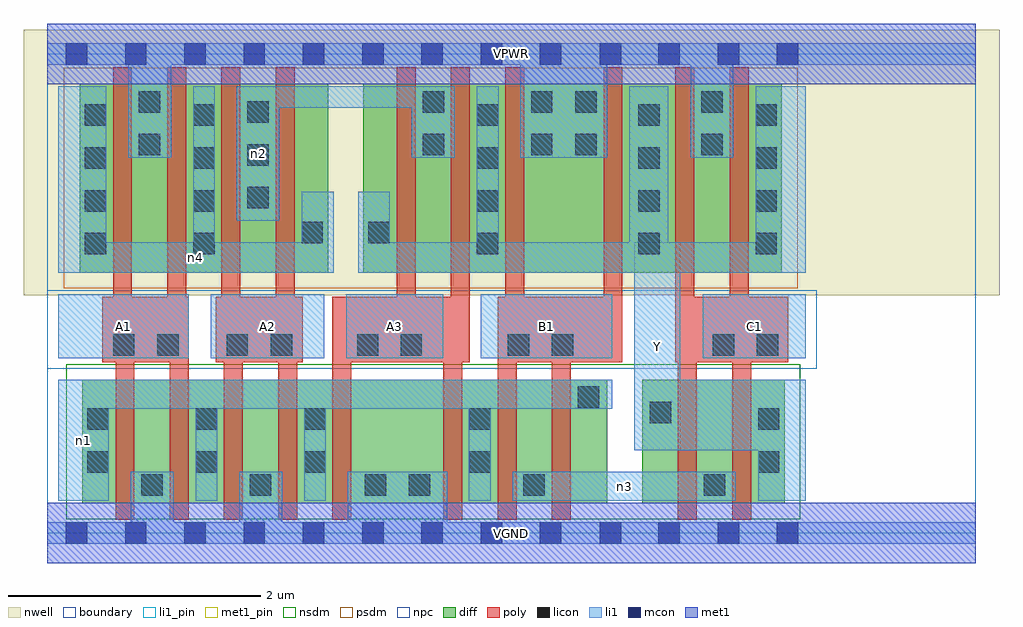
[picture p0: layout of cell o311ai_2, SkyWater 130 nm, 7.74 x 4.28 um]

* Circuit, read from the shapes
.subckt o311ai_2 A1 A2 A3 B1 C1 VGND VPWR Y n1 n2 n3 n4
XM1 VGND A1 n1 VSUBS sky130_fd_pr__nfet_01v8 w=0.98 l=0.15 m=2
XM2 VGND A2 n1 VSUBS sky130_fd_pr__nfet_01v8 w=0.98 l=0.15 m=2
XM3 VGND A3 n1 VSUBS sky130_fd_pr__nfet_01v8 w=0.98 l=0.15 m=2
XM4 n3 B1 n1 VSUBS sky130_fd_pr__nfet_01v8 w=0.98 l=0.15 m=2
XM5 n3 C1 Y VSUBS sky130_fd_pr__nfet_01v8 w=0.98 l=0.15 m=2
XM6 VPWR A1 n4 n5 sky130_fd_pr__pfet_01v8 w=1.5 l=0.15 m=2
XM7 n2 A2 n4 n5 sky130_fd_pr__pfet_01v8 w=1.5 l=0.15 m=2
XM8 n2 A3 Y n5 sky130_fd_pr__pfet_01v8 w=1.5 l=0.15 m=2
XM9 VPWR B1 Y n5 sky130_fd_pr__pfet_01v8 w=1.5 l=0.15 m=2
XM10 VPWR C1 Y n5 sky130_fd_pr__pfet_01v8 w=1.5 l=0.15 m=2
.ends

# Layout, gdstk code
import gdstk
lib = gdstk.Library(unit=1e-6, precision=1e-09)
def R(c, l, rs):  # rectangles x0, y0, x1, y1
    for r in rs: c.add(gdstk.rectangle(r[:2], r[2:], *l))
def A(c, l, x, y, w, h, nx, ny, dx, dy):  # array of equal rectangles
    R(c, l, [(x+i*dx, y+j*dy, x+i*dx+w, y+j*dy+h) for i in range(nx) for j in range(ny)])
nwell = (64, 20)
diff = (65, 20)
poly = (66, 20)
licon = (66, 44)
li1_pin = (67, 16)
li1 = (67, 20)
mcon = (67, 44)
met1_pin = (68, 16)
met1 = (68, 20)
nsdm = (93, 44)
psdm = (94, 20)
npc = (95, 20)
boundary = (235, 4)

o311ai_2 = lib.new_cell('o311ai_2')
R(o311ai_2, nwell, [(-0.19,1.885,7.55,3.99), (0,1.885,7.36,3.99)])
R(o311ai_2, diff, [(0.275,0.235,4.44,1.215), (4.715,0.235,5.845,1.215), (0.255,2.065,2.225,3.565), (2.505,2.065,5.825,3.565)])
A(o311ai_2, poly, 0.54, 0.105, 0.15, 1.77, 5, 1, 0.43, 0)
A(o311ai_2, poly, 3.14, 0.105, 0.15, 1.77, 3, 1, 0.43, 0)
A(o311ai_2, poly, 0.52, 1.355, 0.15, 2.34, 4, 1, 0.43, 0)
A(o311ai_2, poly, 2.77, 1.355, 0.15, 2.34, 3, 1, 0.43, 0)
R(o311ai_2, poly, [(3.2,0.105,3.29,3.695), (5,0.105,5.15,1.875), (5.43,0.105,5.58,1.875), (0.435,1.355,1.12,1.875), (1.335,1.355,2.025,1.875), (2.26,1.355,3.35,1.875), (3.57,1.355,4.56,1.875), (4.41,1.355,4.56,3.695), (4.98,1.355,5.13,3.695), (4.98,1.355,5.875,1.875), (5.41,1.355,5.56,3.695)])
A(o311ai_2, licon, 0.315, 0.48, 0.17, 0.17, 3, 2, 0.86, 0.34)
A(o311ai_2, licon, 0.295, 2.21, 0.17, 0.17, 1, 4, 0, 0.34)
A(o311ai_2, licon, 1.155, 2.21, 0.17, 0.17, 1, 4, 0, 0.34)
A(o311ai_2, licon, 3.405, 2.21, 0.17, 0.17, 1, 4, 0, 0.34)
A(o311ai_2, licon, 4.685, 2.21, 0.17, 0.17, 1, 4, 0, 0.34)
A(o311ai_2, licon, 5.615, 2.21, 0.17, 0.17, 1, 4, 0, 0.34)
A(o311ai_2, licon, 1.585, 2.575, 0.17, 0.17, 1, 3, 0, 0.34)
R(o311ai_2, licon, [(0.745,0.295,0.915,0.465), (1.605,0.295,1.775,0.465), (2.515,0.295,2.685,0.465), (2.865,0.295,3.035,0.465), (3.775,0.295,3.945,0.465), (5.205,0.295,5.375,0.465), (3.345,0.48,3.515,0.65), (5.635,0.48,5.805,0.65), (3.345,0.82,3.515,0.99), (5.635,0.82,5.805,0.99), (4.775,0.87,4.945,1.04), (4.205,0.995,4.375,1.165), (0.52,1.405,0.69,1.575), (0.87,1.405,1.04,1.575), (1.42,1.405,1.59,1.575), (1.77,1.405,1.94,1.575), (2.455,1.405,2.625,1.575), (2.8,1.405,2.97,1.575), (3.65,1.405,3.82,1.575), (4,1.405,4.17,1.575), (5.275,1.405,5.445,1.575), (5.625,1.405,5.795,1.575), (2.015,2.3,2.185,2.47), (2.545,2.3,2.715,2.47), (0.725,2.995,0.895,3.165), (2.975,2.995,3.145,3.165), (3.835,2.995,4.005,3.165), (4.185,2.995,4.355,3.165), (5.185,2.995,5.355,3.165), (0.725,3.335,0.895,3.505), (2.975,3.335,3.145,3.505), (3.835,3.335,4.005,3.505), (4.185,3.335,4.355,3.505), (5.185,3.335,5.355,3.505)])
R(o311ai_2, li1_pin, [(4.655,0.655,5.02,2.305), (0.085,1.385,1.12,1.895), (1.295,1.385,2.195,1.895), (2.37,1.385,3.14,1.895), (3.435,1.385,4.48,1.895), (5.195,1.385,6.015,1.895)])
R(o311ai_2, li1, [(0,-0.085,7.36,0.085), (0.66,-0.085,1,0.485), (1.52,-0.085,1.86,0.485), (2.38,-0.085,3.17,0.485), (0.085,0.255,0.485,1.215), (1.175,0.255,1.345,1.215), (2.035,0.255,2.205,1.215), (3.34,0.255,3.515,1.215), (3.69,0.255,5.46,0.485), (5.635,0.255,6.015,1.215), (4.655,0.655,6.015,1.215), (4.655,0.655,5.02,2.305), (0.085,0.985,4.48,1.215), (0.085,1.385,1.12,1.895), (1.295,1.385,2.195,1.895), (2.37,1.385,3.14,1.895), (3.435,1.385,4.48,1.895), (5.195,1.385,6.015,1.895), (0.085,2.065,2.27,2.305), (0.085,2.065,0.465,3.545), (1.155,2.065,1.325,3.545), (2.015,2.065,2.27,2.705), (2.465,2.065,6.015,2.305), (2.465,2.065,2.715,2.705), (3.405,2.065,3.58,3.545), (4.615,2.065,4.925,3.545), (5.615,2.065,6.015,3.545), (1.5,2.475,1.84,3.545), (0.64,2.975,0.98,3.885), (2.89,2.975,3.23,3.545), (3.75,2.975,4.44,3.885), (5.1,2.975,5.44,3.885), (1.5,3.375,3.23,3.545), (0,3.715,7.36,3.885)])
A(o311ai_2, mcon, 0.145, -0.085, 0.17, 0.17, 9, 2, 0.47, 3.8)
A(o311ai_2, mcon, 4.845, -0.085, 0.17, 0.17, 3, 2, 0.47, 3.8)
R(o311ai_2, mcon, [(4.38,-0.085,4.55,0.085), (4.38,3.715,4.55,3.885)])
R(o311ai_2, met1_pin, [(0,-0.24,7.36,0.24), (0,3.56,7.36,4.04)])
R(o311ai_2, met1, [(0,-0.24,7.36,0.24), (0,3.56,7.36,4.04)])
R(o311ai_2, nsdm, [(0.15,0.11,5.97,1.34)])
R(o311ai_2, psdm, [(0.13,1.94,5.95,3.69)])
R(o311ai_2, npc, [(0,1.305,6.1,1.925)])
R(o311ai_2, boundary, [(0,0,7.36,3.8)])
o311ai_2.add(gdstk.Label('A1', (0.602,1.64), layer=67, texttype=5))
o311ai_2.add(gdstk.Label('A2', (1.745,1.64), layer=67, texttype=5))
o311ai_2.add(gdstk.Label('A3', (2.755,1.64), layer=67, texttype=5))
o311ai_2.add(gdstk.Label('B1', (3.957,1.64), layer=67, texttype=5))
o311ai_2.add(gdstk.Label('C1', (5.605,1.64), layer=67, texttype=5))
o311ai_2.add(gdstk.Label('Y', (4.837,1.48), layer=67, texttype=5))
o311ai_2.add(gdstk.Label('n3', (4.575,0.37), layer=67, texttype=5))
o311ai_2.add(gdstk.Label('n1', (0.285,0.735), layer=67, texttype=5))
o311ai_2.add(gdstk.Label('n4', (1.177,2.185), layer=67, texttype=5))
o311ai_2.add(gdstk.Label('n2', (1.67,3.01), layer=67, texttype=5))
o311ai_2.add(gdstk.Label('VPWR', (3.68,3.8), layer=68, texttype=5))
o311ai_2.add(gdstk.Label('VGND', (3.68,0), layer=68, texttype=5))
o311ai_2.add(gdstk.Label('A1', (0.602,1.64), layer=67, texttype=16))
o311ai_2.add(gdstk.Label('A2', (1.745,1.64), layer=67, texttype=16))
o311ai_2.add(gdstk.Label('A3', (2.755,1.64), layer=67, texttype=16))
o311ai_2.add(gdstk.Label('B1', (3.957,1.64), layer=67, texttype=16))
o311ai_2.add(gdstk.Label('C1', (5.605,1.64), layer=67, texttype=16))
o311ai_2.add(gdstk.Label('Y', (4.837,1.48), layer=67, texttype=16))
o311ai_2.add(gdstk.Label('VPWR', (3.68,3.8), layer=68, texttype=16))
o311ai_2.add(gdstk.Label('VGND', (3.68,0), layer=68, texttype=16))

lib.write_gds('o311ai_2.gds')
